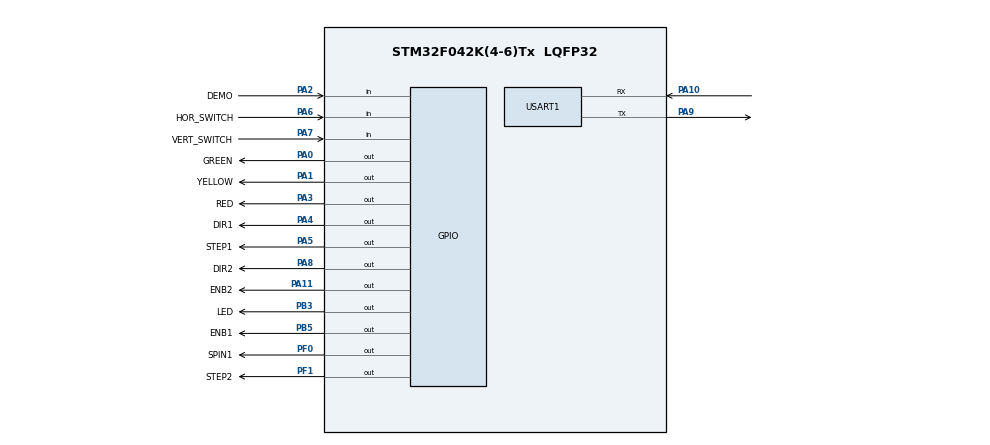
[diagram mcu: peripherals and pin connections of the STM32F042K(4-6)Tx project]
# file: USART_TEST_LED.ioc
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Mcu.Family=STM32F0
Mcu.Name=STM32F042K(4-6)Tx
Mcu.Package=LQFP32
PA0.GPIO_Label=GREEN
PA0.Signal=GPIO_Output
PA1.GPIO_Label=YELLOW
PA1.Signal=GPIO_Output
PA10.Mode=Asynchronous
PA10.Signal=USART1_RX
PA11.GPIO_Label=ENB2
PA11.Signal=GPIO_Output
PA2.GPIO_Label=DEMO
PA2.GPIO_PuPd=GPIO_PULLDOWN
PA2.Signal=GPIO_Input
PA3.GPIO_Label=RED
PA3.Signal=GPIO_Output
PA4.GPIO_Label=DIR1
PA4.Signal=GPIO_Output
PA5.GPIO_Label=STEP1
PA5.Signal=GPIO_Output
PA6.GPIO_Label=HOR_SWITCH
PA6.GPIO_PuPd=GPIO_PULLDOWN
PA6.Signal=GPIO_Input
PA7.GPIO_Label=VERT_SWITCH
PA7.GPIO_PuPd=GPIO_PULLDOWN
PA7.Signal=GPIO_Input
PA8.GPIO_Label=DIR2
PA8.Signal=GPIO_Output
PA9.Mode=Asynchronous
PA9.Signal=USART1_TX
PB3.GPIO_Label=LED
PB3.Signal=GPIO_Output
PB5.GPIO_Label=ENB1
PB5.Signal=GPIO_Output
PF0-OSC_IN.GPIO_Label=SPIN1
PF0-OSC_IN.Signal=GPIO_Output
PF1-OSC_OUT.GPIO_Label=STEP2
PF1-OSC_OUT.Signal=GPIO_Output
ProjectManager.HeapSize=0x200
ProjectManager.StackSize=0x400
ProjectManager.TargetToolchain=MDK-ARM V5
USART1.VirtualMode-Asynchronous=VM_ASYNC
board=NUCLEO-F042K6

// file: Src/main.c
/* USER CODE BEGIN Header */
/*****************************************************************
 * main.c                                        								 *
 * Created: 15/05/2019                                           *
 * Author : Madison B, Nicholas M                                *
 * s4393944 - Team 8 - METR4810                                  *
 * Drill, Mill and Lathe main code 															 *
 *****************************************************************/

/********************************************************************************
  * @file           : main.c
  * @brief          : Main program body
  ******************************************************************************
  ** This notice applies to any and all portions of this file
  * that are not between comment pairs USER CODE BEGIN and
  * USER CODE END. Other portions of this file, whether
  * inserted by the user or by software development tools
  * are owned by their respective copyright owners.
  *
  * COPYRIGHT(c) 2019 STMicroelectronics
  *
  * Redistribution and use in source and binary forms, with or without modification,
  * are permitted provided that the following conditions are met:
  *   1. Redistributions of source code must retain the above copyright notice,
  *      this list of conditions and the following disclaimer.
  *   2. Redistributions in binary form must reproduce the above copyright notice,
  *      this list of conditions and the following disclaimer in the documentation
  *      and/or other materials provided with the distribution.
  *   3. Neither the name of STMicroelectronics nor the names of its contributors
  *      may be used to endorse or promote products derived from this software
  *      without specific prior written permission.
  *
  * THIS SOFTWARE IS PROVIDED BY THE COPYRIGHT HOLDERS AND CONTRIBUTORS "AS IS"
  * AND ANY EXPRESS OR IMPLIED WARRANTIES, INCLUDING, BUT NOT LIMITED TO, THE
  * IMPLIED WARRANTIES OF MERCHANTABILITY AND FITNESS FOR A PARTICULAR PURPOSE ARE
  * DISCLAIMED. IN NO EVENT SHALL THE COPYRIGHT HOLDER OR CONTRIBUTORS BE LIABLE
  * FOR ANY DIRECT, INDIRECT, INCIDENTAL, SPECIAL, EXEMPLARY, OR CONSEQUENTIAL
  * DAMAGES (INCLUDING, BUT NOT LIMITED TO, PROCUREMENT OF SUBSTITUTE GOODS OR
  * SERVICES; LOSS OF USE, DATA, OR PROFITS; OR BUSINESS INTERRUPTION) HOWEVER
  * CAUSED AND ON ANY THEORY OF LIABILITY, WHETHER IN CONTRACT, STRICT LIABILITY,
  * OR TORT (INCLUDING NEGLIGENCE OR OTHERWISE) ARISING IN ANY WAY OUT OF THE USE
  * OF THIS SOFTWARE, EVEN IF ADVISED OF THE POSSIBILITY OF SUCH DAMAGE.
  *
  ******************************************************************************
  */
/* USER CODE END Header */

#include "main.h"

/* USER CODE BEGIN Includes */
#include "string.h"
#include "linearactuation.h"
#include "status.h"
#include "vertical_actuation.h"
#include "initialise_drivers.h"
#include "lathe_actuation.h"
/* USER CODE END Includes */

/* USER CODE BEGIN PD */
//#define DRILL_BOARD
//#define MILL_BOARD
//#define LATHE_BOARD
#define BASICFUNC_DRILL
//#define BASICFUNC_MILL
//#define BASICFUNC_LATHE

/* USER CODE END PD */

UART_HandleTypeDef huart1;

void SystemClock_Config(void);
static void MX_GPIO_Init(void);
static void MX_USART1_UART_Init(void);

int main(void)
{
  /* USER CODE BEGIN 1 */
	int current_position = 0;
	int current_vertical_position = 140;
	//uint8_t buffTX[10] = "Hello!!!\n\r";
	//uint8_t drillTX[10] = "Drill!!!\n\r";

	//reset buff and allocate to memory
	uint8_t coords[50];
	memset(&coords[0], 0, sizeof(coords));

	uint8_t drill_coords[sizeof(coords)];
	float mill_coords[sizeof(coords)];
	float lathe_coords[sizeof(coords)];

  /* USER CODE END 1 */

  /* MCU Configuration--------------------------------------------------------*/

  /* Reset of all peripherals, Initializes the Flash interface and the Systick. */
  HAL_Init();

  /* Configure the system clock */
  SystemClock_Config();

  /* Initialize all configured peripherals */
  MX_GPIO_Init();
  MX_USART1_UART_Init();

  /* Infinite loop */
  /* USER CODE BEGIN WHILE */

#ifdef DRILL_BOARD
initialise_drivers();
HAL_GPIO_WritePin(LED_GPIO_Port, LED_Pin, GPIO_PIN_SET);
while (1) {
	HAL_GPIO_WritePin(LED_GPIO_Port, LED_Pin, GPIO_PIN_RESET);

	//Initializes buff, resets position in memory
	char buff[50];
	memset(&buff[0], 0, sizeof(buff));
	HAL_UART_Receive(&huart1, buff, sizeof(buff), 1000);

	//if buff is received
	if (strcmp(buff, "hi\n\r") == 0) {
		HAL_GPIO_WritePin(LED_GPIO_Port, LED_Pin, GPIO_PIN_SET);
		char buff[50];
		memset(&buff[0], 0, sizeof(buff));

		//Reset function
		home_horizontal();
		home_vertical();
		//No. of drill holes
		int repeat = drill_coords[0];
		for (int j = -1; j < repeat; j++) {
			int y_coord = 3+4*j;
			//CHECK THIS LATER
			int z_coord = 4+4*j;
			//If message received from handler then do this
			current_vertical_position = move_to_vertical(current_vertical_position, 100);

			spindle_on();

			current_position = move_to(current_position, 160); //(210 - (80 - drill_coords[z_coord])));
			current_position = move_to(current_position, 70);
			spindle_off();
			home_horizontal();
			//MAYBE RESET HER
		}
		uint8_t brkpt[10] = "BREAKNEW\n\r";
		uint8_t drill_done[11] = "DRILLDONE\n\r";
		//Transmit back to handler
		HAL_UART_Transmit(&huart1, drill_done, sizeof(drill_done), 3000);

	}
}
#endif

#ifdef MILL_BOARD
initialise_drivers();
while (1) {
	char buff[50];
	memset(&buff[0], 0, sizeof(buff));
	//ISMILLREADY?
	uint8_t mill_ready[13] = "MILLREADY\n\r";

	//while the mill is not ready, on board LED is set
	while (strcmp(buff, "MILLREADY\n\r") != 0) {
		HAL_UART_Receive(&huart1, buff, sizeof(buff), 1000);

	}
	//If the mill is ready, this function runs
	if (strcmp(buff, "MILLREADY\n\r") == 0){

		//No. of mill sections
		HAL_GPIO_WritePin(LED_GPIO_Port, LED_Pin, GPIO_PIN_SET);

		home_horizontal();
		//home_vertical();

		int repeat = mill_coords[0];
		for (int j = -1; j < 0; j++) {
			int y_coord = 3+4*j;
			int z_coord = 4+4*j;

			//align vertically
			current_vertical_position = move_to_vertical(current_vertical_position, 100);
			for(int i = 0; i<30; i++){
				current_position = move_to_lathe(current_position, current_position+1);//mill_coords[z_coord]);
				current_position = move_to_vertical_lathe(current_vertical_position, current_vertical_position+1);
			}
			//reset

			current_vertical_position = move_to_vertical_lathe(current_vertical_position, 110);
			home_horizontal();
		}
		uint8_t mill_done[11] = "MILLDONE\n\r";
		//Transmit back to handler
		HAL_UART_Transmit(&huart1, mill_done, sizeof(mill_done), 3000);
	}
}
#endif

#ifdef LATHE_BOARD
initialise_drivers();
while (1) {
	char buff[50];
	memset(&buff[0], 0, sizeof(buff));
	uint8_t lathe_ready[9] = "LATHEGO\n\r";

	//while the lathe is not ready, on board LED is set
	while (strcmp(buff, "LATHEGO\n\r") != 0) {
		HAL_UART_Receive(&huart1, buff, sizeof(buff), 1000);
		HAL_GPIO_WritePin(LED_GPIO_Port, LED_Pin, GPIO_PIN_RESET);
	}

	//If handler is ready for lathe, this function runs
	if (strcmp(buff, "LATHEGO\n\r") == 0){
		HAL_GPIO_WritePin(LED_GPIO_Port, LED_Pin, GPIO_PIN_SET);
		home_vertical();
		home_horizontal();
		//No. of mill sections
		int repeat = lathe_coords[0];
		for (int j = 0; j <= 0; j++) {
			int y1_coord = 1+3*j;
			int y2_coord = 2+3*j;
			int z_coord = 3+3*j;

			//align vertically
			current_vertical_position = move_to_vertical(current_vertical_position, 60);

			//lathe to depth
			current_position = move_to(current_position, 50);
			HAL_Delay(2000);

			//lathe upward
			current_vertical_position = move_to_vertical(current_vertical_position, 10);

			//reset horizontally
			current_position = move_to(current_position, 0);
		}
		uint8_t lathe_done[11] = "LATHEDONE\n\r";
		//Transmit back to handler
		HAL_UART_Transmit(&huart1, lathe_done, sizeof(lathe_done), 1000);
	}
}
#endif

#ifdef BASICFUNC_DRILL
initialise_drivers();
while(1){
	led_on(RED);
	if(HAL_GPIO_ReadPin(DEMO_GPIO_Port, DEMO_Pin) != 0){
		home_vertical();
		home_horizontal();
		current_vertical_position = move_to_vertical(current_vertical_position, 100);
		spindle_on();
		current_position = move_to(current_position, 160);
		current_position = move_to(current_position, 70);
		spindle_off();
		home_horizontal();
		led_on(GREEN);
		HAL_GPIO_WritePin(LED_GPIO_Port, LED_Pin, GPIO_PIN_SET);
	} else {
		led_on(AMBER);
	}
}
#endif

#ifdef BASICFUNC_MILL
initialise_drivers();
while(1){
	led_on(RED);
	if(HAL_GPIO_ReadPin(DEMO_GPIO_Port, DEMO_Pin) != 0){
		home_vertical();
		home_horizontal();
		current_vertical_position = move_to_vertical(current_vertical_position, (current_vertical_position-10));
		spindle_on();
		current_position = move_to(current_position, 140);
		current_position = move_to(current_position, 70);
		spindle_off();
		home_horizontal();
		led_on(GREEN);
		HAL_GPIO_WritePin(LED_GPIO_Port, LED_Pin, GPIO_PIN_SET);
	} else {
		led_on(AMBER);
	}
}
#endif

#ifdef BASICFUNC_LATHE
initialise_drivers();
while(1){
	led_on(RED);
	if(HAL_GPIO_ReadPin(DEMO_GPIO_Port, DEMO_Pin) != 0){
		home_vertical();
		home_horizontal();
		current_vertical_position = move_to_vertical(current_vertical_position, 100);
		current_position = move_to(current_position, 70);
			for(int i = 0; i<30; i++){
				current_position = move_to_lathe(current_position, current_position+1);//mill_coords[z_coord]);
				current_position = move_to_vertical_lathe(current_vertical_position, current_vertical_position+1);
			}
	} else {
		led_on(AMBER);
	}
}
#endif

    /* USER CODE END WHILE */

}

void SystemClock_Config(void)
{
  RCC_OscInitTypeDef RCC_OscInitStruct = {0};
  RCC_ClkInitTypeDef RCC_ClkInitStruct = {0};
  RCC_PeriphCLKInitTypeDef PeriphClkInit = {0};

  /**Initializes the CPU, AHB and APB busses clocks
  */
  RCC_OscInitStruct.OscillatorType = RCC_OSCILLATORTYPE_HSI;
  RCC_OscInitStruct.HSIState = RCC_HSI_ON;
  RCC_OscInitStruct.HSICalibrationValue = RCC_HSICALIBRATION_DEFAULT;
  RCC_OscInitStruct.PLL.PLLState = RCC_PLL_NONE;
  if (HAL_RCC_OscConfig(&RCC_OscInitStruct) != HAL_OK)
  {
    Error_Handler();
  }
  /**Initializes the CPU, AHB and APB busses clocks
  */
  RCC_ClkInitStruct.ClockType = RCC_CLOCKTYPE_HCLK|RCC_CLOCKTYPE_SYSCLK
                              |RCC_CLOCKTYPE_PCLK1;
  RCC_ClkInitStruct.SYSCLKSource = RCC_SYSCLKSOURCE_HSI;
  RCC_ClkInitStruct.AHBCLKDivider = RCC_SYSCLK_DIV1;
  RCC_ClkInitStruct.APB1CLKDivider = RCC_HCLK_DIV1;

  if (HAL_RCC_ClockConfig(&RCC_ClkInitStruct, FLASH_LATENCY_0) != HAL_OK)
  {
    Error_Handler();
  }
  PeriphClkInit.PeriphClockSelection = RCC_PERIPHCLK_USART1;
  PeriphClkInit.Usart1ClockSelection = RCC_USART1CLKSOURCE_PCLK1;
  if (HAL_RCCEx_PeriphCLKConfig(&PeriphClkInit) != HAL_OK)
  {
    Error_Handler();
  }
}

static void MX_USART1_UART_Init(void)
{

  huart1.Instance = USART1;
  huart1.Init.BaudRate = 38400;
  huart1.Init.WordLength = UART_WORDLENGTH_8B;
  huart1.Init.StopBits = UART_STOPBITS_1;
  huart1.Init.Parity = UART_PARITY_NONE;
  huart1.Init.Mode = UART_MODE_TX_RX;
  huart1.Init.HwFlowCtl = UART_HWCONTROL_NONE;
  huart1.Init.OverSampling = UART_OVERSAMPLING_16;
  huart1.Init.OneBitSampling = UART_ONE_BIT_SAMPLE_DISABLE;
  huart1.AdvancedInit.AdvFeatureInit = UART_ADVFEATURE_NO_INIT;
  if (HAL_UART_Init(&huart1) != HAL_OK)
  {
    Error_Handler();
  }

}

static void MX_GPIO_Init(void)
{
  GPIO_InitTypeDef GPIO_InitStruct = {0};

  /* GPIO Ports Clock Enable */
  __HAL_RCC_GPIOF_CLK_ENABLE();
  __HAL_RCC_GPIOA_CLK_ENABLE();
  __HAL_RCC_GPIOB_CLK_ENABLE();

  /*Configure GPIO pin Output Level */
  HAL_GPIO_WritePin(GPIOF, SPIN1_Pin|STEP2_Pin, GPIO_PIN_RESET);

  /*Configure GPIO pin Output Level */
  HAL_GPIO_WritePin(GPIOA, GREEN_Pin|YELLOW_Pin|RED_Pin|DIR1_Pin
                          |STEP1_Pin|DIR2_Pin|ENB2_Pin, GPIO_PIN_RESET);

  /*Configure GPIO pin Output Level */
  HAL_GPIO_WritePin(GPIOB, LED_Pin|ENB1_Pin, GPIO_PIN_RESET);

  /*Configure GPIO pins : SPIN1_Pin STEP2_Pin */
  GPIO_InitStruct.Pin = SPIN1_Pin|STEP2_Pin;
  GPIO_InitStruct.Mode = GPIO_MODE_OUTPUT_PP;
  GPIO_InitStruct.Pull = GPIO_NOPULL;
  GPIO_InitStruct.Speed = GPIO_SPEED_FREQ_LOW;
  HAL_GPIO_Init(GPIOF, &GPIO_InitStruct);

  /*Configure GPIO pins : GREEN_Pin YELLOW_Pin RED_Pin DIR1_Pin
                           STEP1_Pin DIR2_Pin ENB2_Pin */
  GPIO_InitStruct.Pin = GREEN_Pin|YELLOW_Pin|RED_Pin|DIR1_Pin
                          |STEP1_Pin|DIR2_Pin|ENB2_Pin;
  GPIO_InitStruct.Mode = GPIO_MODE_OUTPUT_PP;
  GPIO_InitStruct.Pull = GPIO_NOPULL;
  GPIO_InitStruct.Speed = GPIO_SPEED_FREQ_LOW;
  HAL_GPIO_Init(GPIOA, &GPIO_InitStruct);

  /*Configure GPIO pins : DEMO_Pin HOR_SWITCH_Pin VERT_SWITCH_Pin */
  GPIO_InitStruct.Pin = DEMO_Pin|HOR_SWITCH_Pin|VERT_SWITCH_Pin;
  GPIO_InitStruct.Mode = GPIO_MODE_INPUT;
  GPIO_InitStruct.Pull = GPIO_PULLDOWN;
  HAL_GPIO_Init(GPIOA, &GPIO_InitStruct);

  /*Configure GPIO pins : LED_Pin ENB1_Pin */
  GPIO_InitStruct.Pin = LED_Pin|ENB1_Pin;
  GPIO_InitStruct.Mode = GPIO_MODE_OUTPUT_PP;
  GPIO_InitStruct.Pull = GPIO_NOPULL;
  GPIO_InitStruct.Speed = GPIO_SPEED_FREQ_LOW;
  HAL_GPIO_Init(GPIOB, &GPIO_InitStruct);

}

void Error_Handler(void)
{
}

/************************ (C) COPYRIGHT STMicroelectronics *****END OF FILE****/
